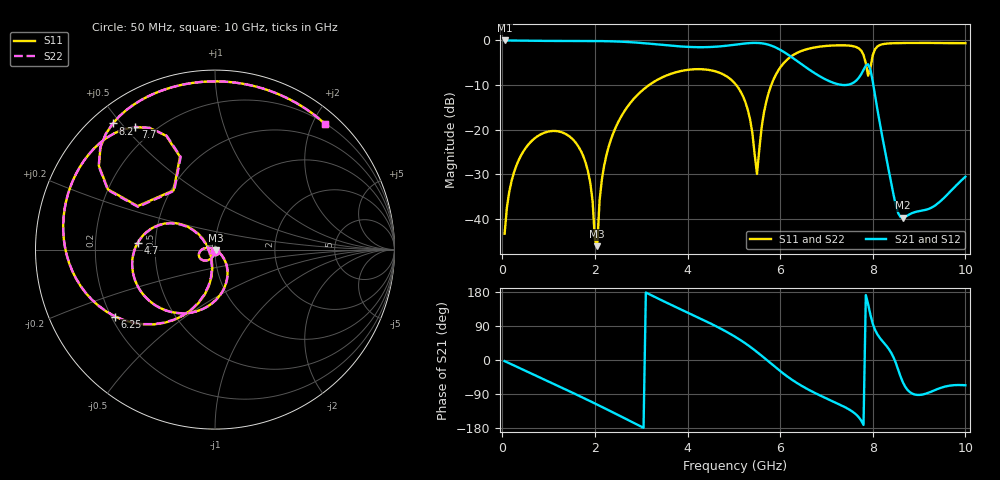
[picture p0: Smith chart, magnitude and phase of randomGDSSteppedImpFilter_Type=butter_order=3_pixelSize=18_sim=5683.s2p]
! freq	dB(S11)	phase(S11)	dB(S12)	phase(S12)
!  dB(S21)	phase(S21)	dB(S22)	phase(S22)
!S-par simulation data
#  GHz  S  DB  R 50
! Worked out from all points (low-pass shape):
!   200 points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, 50 MHz to 10 GHz, reference 50 ohm
!   highest |S21| = 0.00 dB at 50 MHz (marker M1); lowest = -39.7 dB at 8.65 GHz (marker M2)
!   |S21| within 3 dB of the highest: start of sweep to 6.144 GHz
!   lowest |S11| = -46.1 dB at 2.05 GHz (marker M3), VSWR 1.01, Z = 50.3 - j0.363 ohm
!   |S11| at or under -10 dB: start of sweep to 3.168 GHz; 5.052 GHz to 5.808 GHz (756.2 MHz wide, 13.9 % of centre)
!   |S22| runs from -46.3 to -0.6 dB; largest |S21 - S12| = 0
!   S11 on the Smith chart (normalised r, x): 50 MHz: 1.00, -0.01; 4.7 GHz: 0.40, +0.04; 6.25 GHz: 0.22, -0.29; 7.7 GHz: 0.13, +0.54; 8.2 GHz: 0.06, +0.48; 10 GHz: 0.21, +2.18
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0.05  -43.28 -91.6  -0.00 -2.9  -0.00 -2.9  -43.28 -91.6
0.25  -29.64 -104.0  -0.03 -14.3  -0.03 -14.3  -29.64 -104.0
0.65  -22.37 -127.5  -0.07 -37.0  -0.07 -37.0  -22.37 -127.5
1.75  -25.95 170.0  -0.13 -99.9  -0.13 -99.9  -25.95 169.6
2.05  -46.08 -46.6  -0.14 -117.7  -0.14 -117.7  -46.26 -35.8
2.15  -31.17 -36.3  -0.15 -123.7  -0.15 -123.7  -31.17 -35.1
2.4  -20.68 -50.3  -0.21 -138.9  -0.21 -138.9  -20.68 -49.9
3.4  -8.54 -110.6  -0.94 160.0  -0.94 160.0  -8.54 -110.4
4.7  -7.28 175.0  -1.33 83.8  -1.33 83.8  -7.27 175.3
5.05  -9.97 152.8  -0.92 59.7  -0.92 59.7  -9.97 153.2
5.35  -17.66 136.7  -0.58 35.1  -0.58 35.1  -17.62 137.7
5.5  -29.90 -155.1  -0.56 21.1  -0.56 21.1  -29.27 -155.4
5.75  -11.78 -103.0  -0.96 -4.0  -0.96 -4.0  -11.77 -103.5
6.25  -3.48 -146.2  -3.75 -51.7  -3.75 -51.7  -3.48 -146.3
6.7  -1.65 -177.9  -7.03 -83.9  -7.03 -83.9  -1.65 -178.0
7.7  -1.79 123.0  -8.34 -151.4  -8.34 -151.4  -1.79 122.8
7.85  -5.14 110.6  -5.65 171.4  -5.65 171.4  -5.18 110.3
7.95  -6.12 150.6  -6.56 118.9  -6.56 118.9  -6.18 151.0
8.2  -0.87 129.0  -21.26 51.1  -21.26 51.1  -0.88 129.2
8.35  -0.67 119.3  -29.37 28.3  -29.37 28.3  -0.67 119.4
8.65  -0.58 104.4  -39.72 -58.8  -39.72 -58.8  -0.58 104.5
10  -0.62 48.9  -30.52 -66.7  -30.52 -66.7  -0.62 49.0
